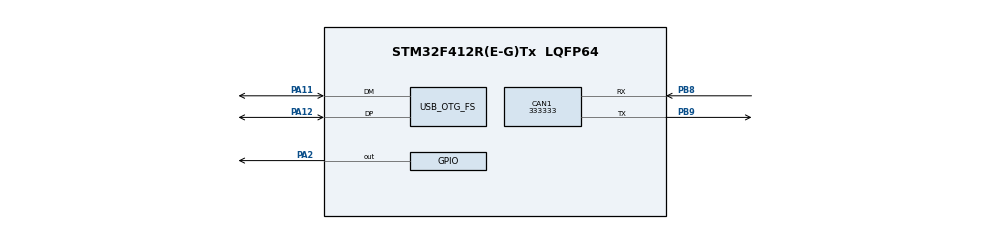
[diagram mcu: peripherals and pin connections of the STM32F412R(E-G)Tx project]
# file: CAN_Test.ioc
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CAN1.CalculateBaudRate=333333
CAN1.CalculateTimeBit=3000
CAN1.CalculateTimeQuantum=1000.0
Mcu.Family=STM32F4
Mcu.Name=STM32F412R(E-G)Tx
Mcu.Package=LQFP64
NVIC.PriorityGroup=NVIC_PRIORITYGROUP_4
PA11.Mode=Device_Only
PA11.Signal=USB_OTG_FS_DM
PA12.Mode=Device_Only
PA12.Signal=USB_OTG_FS_DP
PA13.Mode=Trace_Asynchronous_SW
PA13.Signal=SYS_JTMS-SWDIO
PA14.Mode=Trace_Asynchronous_SW
PA14.Signal=SYS_JTCK-SWCLK
PA2.Signal=GPIO_Output
PB3.Mode=Trace_Asynchronous_SW
PB3.Signal=SYS_JTDO-SWO
PB8.Mode=CAN_Activate
PB8.Signal=CAN1_RX
PB9.Mode=CAN_Activate
PB9.Signal=CAN1_TX
PH0\ -\ OSC_IN.Mode=HSE-External-Oscillator
PH0\ -\ OSC_IN.Signal=RCC_OSC_IN
PH1\ -\ OSC_OUT.Mode=HSE-External-Oscillator
PH1\ -\ OSC_OUT.Signal=RCC_OSC_OUT
ProjectManager.HeapSize=0x200
ProjectManager.StackSize=0x400
ProjectManager.TargetToolchain=STM32CubeIDE
RCC.CortexFreq_Value=16000000
RCC.PLLM=15
RCC.PLLN=144
RCC.PLLQ=5
RCC.USBFreq_Value=48000000
RCC.VCOOutputFreq_Value=240000000
USB_OTG_FS.VirtualMode=Device_Only
board=custom

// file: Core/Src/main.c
/* USER CODE BEGIN Header */
/**
  ******************************************************************************
  * @file           : main.c
  * @brief          : Main program body
  ******************************************************************************
  * @attention
  *
  * Copyright (c) 2022 STMicroelectronics.
  * All rights reserved.
  *
  * This software is licensed under terms that can be found in the LICENSE file
  * in the root directory of this software component.
  * If no LICENSE file comes with this software, it is provided AS-IS.
  *
  ******************************************************************************
  */
/* USER CODE END Header */
#include "main.h"

CAN_HandleTypeDef hcan1;

PCD_HandleTypeDef hpcd_USB_OTG_FS;

/* USER CODE BEGIN PV */
CAN_RxHeaderTypeDef RxHeader;
CAN_TxHeaderTypeDef TxHeader;
uint32_t TxMailbox;
uint8_t TxData[8];
uint8_t RxData[8];
/* USER CODE END PV */

void SystemClock_Config(void);
static void MX_GPIO_Init(void);
static void MX_CAN1_Init(void);
static void MX_USB_OTG_FS_PCD_Init(void);

int main(void)
{

  /* MCU Configuration--------------------------------------------------------*/

  /* Reset of all peripherals, Initializes the Flash interface and the Systick. */
  HAL_Init();

  /* USER CODE BEGIN Init */
  TxHeader.IDE = CAN_ID_STD;
  TxHeader.StdId = 0x446;
  TxHeader.RTR = CAN_RTR_DATA;
  TxHeader.DLC = 2;

  TxData[0] = 0x10;
  TxData[1] = 0xAA;
  /* USER CODE END Init */

  /* Configure the system clock */
  SystemClock_Config();

  /* Initialize all configured peripherals */
  MX_GPIO_Init();
  MX_CAN1_Init();
  MX_USB_OTG_FS_PCD_Init();
  /* USER CODE BEGIN 2 */
/*HAL_GPIO_TogglePin(GPIOA,GPIO_PIN_2);
if (HAL_CAN_AddTxMessage(&hcan1, &TxHeader, TxData, &TxMailbox) != HAL_OK)
{
 Error_Handler ();
}*/
if (HAL_CAN_ActivateNotification(&hcan1, CAN_IT_RX_FIFO0_MSG_PENDING) != HAL_OK)
{
Error_Handler();
}
  /* USER CODE END 2 */

  /* Infinite loop */
  while (1)
  {

  }
}

void SystemClock_Config(void)
{
  RCC_OscInitTypeDef RCC_OscInitStruct = {0};
  RCC_ClkInitTypeDef RCC_ClkInitStruct = {0};

  /** Configure the main internal regulator output voltage
  */
  __HAL_RCC_PWR_CLK_ENABLE();
  __HAL_PWR_VOLTAGESCALING_CONFIG(PWR_REGULATOR_VOLTAGE_SCALE1);

  /** Initializes the RCC Oscillators according to the specified parameters
  * in the RCC_OscInitTypeDef structure.
  */
  RCC_OscInitStruct.OscillatorType = RCC_OSCILLATORTYPE_HSI|RCC_OSCILLATORTYPE_HSE;
  RCC_OscInitStruct.HSEState = RCC_HSE_ON;
  RCC_OscInitStruct.HSIState = RCC_HSI_ON;
  RCC_OscInitStruct.HSICalibrationValue = RCC_HSICALIBRATION_DEFAULT;
  RCC_OscInitStruct.PLL.PLLState = RCC_PLL_ON;
  RCC_OscInitStruct.PLL.PLLSource = RCC_PLLSOURCE_HSE;
  RCC_OscInitStruct.PLL.PLLM = 15;
  RCC_OscInitStruct.PLL.PLLN = 144;
  RCC_OscInitStruct.PLL.PLLP = RCC_PLLP_DIV2;
  RCC_OscInitStruct.PLL.PLLQ = 5;
  RCC_OscInitStruct.PLL.PLLR = 2;
  if (HAL_RCC_OscConfig(&RCC_OscInitStruct) != HAL_OK)
  {
    Error_Handler();
  }

  /** Initializes the CPU, AHB and APB buses clocks
  */
  RCC_ClkInitStruct.ClockType = RCC_CLOCKTYPE_HCLK|RCC_CLOCKTYPE_SYSCLK
                              |RCC_CLOCKTYPE_PCLK1|RCC_CLOCKTYPE_PCLK2;
  RCC_ClkInitStruct.SYSCLKSource = RCC_SYSCLKSOURCE_HSI;
  RCC_ClkInitStruct.AHBCLKDivider = RCC_SYSCLK_DIV1;
  RCC_ClkInitStruct.APB1CLKDivider = RCC_HCLK_DIV1;
  RCC_ClkInitStruct.APB2CLKDivider = RCC_HCLK_DIV1;

  if (HAL_RCC_ClockConfig(&RCC_ClkInitStruct, FLASH_LATENCY_0) != HAL_OK)
  {
    Error_Handler();
  }
}

static void MX_CAN1_Init(void)
{

  hcan1.Instance = CAN1;
  hcan1.Init.Prescaler = 16;
  hcan1.Init.Mode = CAN_MODE_NORMAL;
  hcan1.Init.SyncJumpWidth = CAN_SJW_1TQ;
  hcan1.Init.TimeSeg1 = CAN_BS1_1TQ;
  hcan1.Init.TimeSeg2 = CAN_BS2_1TQ;
  hcan1.Init.TimeTriggeredMode = DISABLE;
  hcan1.Init.AutoBusOff = DISABLE;
  hcan1.Init.AutoWakeUp = DISABLE;
  hcan1.Init.AutoRetransmission = DISABLE;
  hcan1.Init.ReceiveFifoLocked = DISABLE;
  hcan1.Init.TransmitFifoPriority = DISABLE;
  if (HAL_CAN_Init(&hcan1) != HAL_OK)
  {
    Error_Handler();
  }

}

static void MX_USB_OTG_FS_PCD_Init(void)
{

  hpcd_USB_OTG_FS.Instance = USB_OTG_FS;
  hpcd_USB_OTG_FS.Init.dev_endpoints = 6;
  hpcd_USB_OTG_FS.Init.speed = PCD_SPEED_FULL;
  hpcd_USB_OTG_FS.Init.dma_enable = DISABLE;
  hpcd_USB_OTG_FS.Init.phy_itface = PCD_PHY_EMBEDDED;
  hpcd_USB_OTG_FS.Init.Sof_enable = DISABLE;
  hpcd_USB_OTG_FS.Init.low_power_enable = DISABLE;
  hpcd_USB_OTG_FS.Init.lpm_enable = DISABLE;
  hpcd_USB_OTG_FS.Init.battery_charging_enable = DISABLE;
  hpcd_USB_OTG_FS.Init.vbus_sensing_enable = DISABLE;
  hpcd_USB_OTG_FS.Init.use_dedicated_ep1 = DISABLE;
  if (HAL_PCD_Init(&hpcd_USB_OTG_FS) != HAL_OK)
  {
    Error_Handler();
  }

}

static void MX_GPIO_Init(void)
{
  GPIO_InitTypeDef GPIO_InitStruct = {0};

  /* GPIO Ports Clock Enable */
  __HAL_RCC_GPIOH_CLK_ENABLE();
  __HAL_RCC_GPIOA_CLK_ENABLE();
  __HAL_RCC_GPIOB_CLK_ENABLE();

  /*Configure GPIO pin Output Level */
  HAL_GPIO_WritePin(GPIOA, GPIO_PIN_2, GPIO_PIN_RESET);

  /*Configure GPIO pin : PA2 */
  GPIO_InitStruct.Pin = GPIO_PIN_2;
  GPIO_InitStruct.Mode = GPIO_MODE_OUTPUT_PP;
  GPIO_InitStruct.Pull = GPIO_NOPULL;
  GPIO_InitStruct.Speed = GPIO_SPEED_FREQ_LOW;
  HAL_GPIO_Init(GPIOA, &GPIO_InitStruct);

}

/* USER CODE BEGIN 4 */
void HAL_CAN_RxFifo0MsgPendingCallback(CAN_HandleTypeDef *hcan)
{
  if (HAL_CAN_GetRxMessage(hcan, CAN_RX_FIFO0, &RxHeader, RxData) != HAL_OK)
  {
    Error_Handler();
  }

  if ((RxData[0] == 0x10))
  {
	  HAL_GPIO_TogglePin(GPIOA,GPIO_PIN_2);
	  HAL_Delay(500);
	  if (HAL_CAN_AddTxMessage(&hcan1, &TxHeader, TxData, &TxMailbox) != HAL_OK)
	  {
	     Error_Handler ();
	  }

  }
}
/* USER CODE END 4 */

void Error_Handler(void)
{
  __disable_irq();
  while (1)
  {
  }
}
